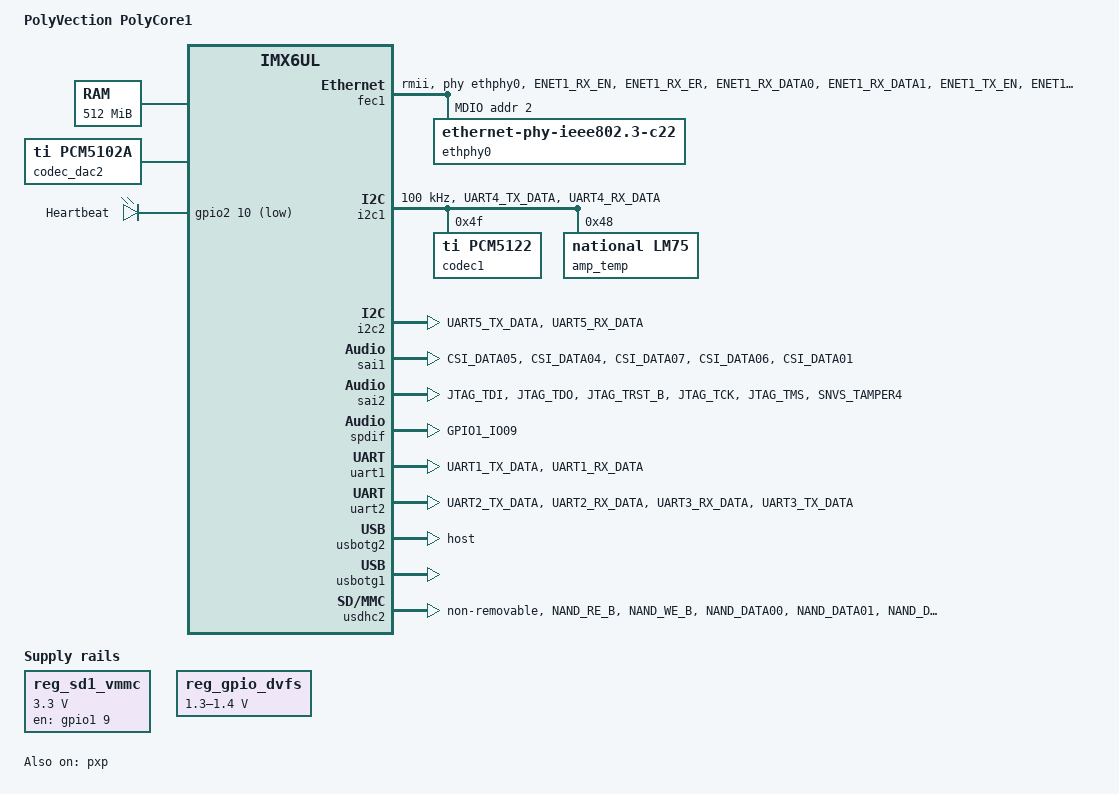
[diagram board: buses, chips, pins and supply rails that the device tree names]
/*
 * Copyright (C) 2015 Freescale Semiconductor, Inc.
 *
 * This program is free software; you can redistribute it and/or modify
 * it under the terms of the GNU General Public License version 2 as
 * published by the Free Software Foundation.
 *
 */

/dts-v1/;

#include <dt-bindings/input/input.h>
#include "imx6ul.dtsi"

/ {
	model = "PolyVection PolyCore1";
	compatible = "polyvection,polycore1", "fsl,imx6ul";

	chosen {
		stdout-path = &uart1;
	};

	memory {
		reg = <0x80000000 0x20000000>;
	};

	reserved-memory {
		#address-cells = <1>;
		#size-cells = <1>;
		ranges;

		linux,cma {
			compatible = "shared-dma-pool";
			reusable;
			size = <0x14000000>;
			linux,cma-default;
		};
	};

	pxp_v4l2 {
		compatible = "fsl,imx6ul-pxp-v4l2", "fsl,imx6sx-pxp-v4l2", "fsl,imx6sl-pxp-v4l2";
		status = "okay";
	};

	regulators {
		compatible = "simple-bus";
		#address-cells = <1>;
		#size-cells = <0>;

		reg_sd1_vmmc: regulator@1 {
			compatible = "regulator-fixed";
			regulator-name = "VSD_3V3";
			regulator-min-microvolt = <3300000>;
			regulator-max-microvolt = <3300000>;
			gpio = <&gpio1 9 GPIO_ACTIVE_HIGH>;
			enable-active-high;
		};

		reg_gpio_dvfs: regulator-gpio {
			compatible = "regulator-gpio";
			pinctrl-names = "default";
			pinctrl-0 = <&pinctrl_dvfs>;
			regulator-min-microvolt = <1300000>;
			regulator-max-microvolt = <1400000>;
			regulator-name = "gpio_dvfs";
			regulator-type = "voltage";
			gpios = <&gpio5 3 GPIO_ACTIVE_HIGH>;
			states = <1300000 0x1 1400000 0x0>;
		};
	};

	sound-spdif {
		compatible = "fsl,imx-audio-spdif";
		model = "imx-spdif";
		spdif-controller = <&spdif>;
		spdif-in;
	};

	/*codec_dac1: dac-codec1 {
		compatible = "ti,pcm5102a";
		status = "okay";
	};*/

	codec_dac2: dac-codec2 {
		compatible = "ti,pcm5102a";
		status = "okay";
	};

	sound1 {
		compatible = "polyvection,imx-audio-pcm512x";
		model = "pcm512x";
		cpu-dai = <&sai1>;
		audio-codec = <&codec1>;
		status = "okay";
	};

	/*sound1 {
		compatible = "polyvection,imx-audio-pcm5102a";
		model = "pcm5102a-audio";
		cpu-dai = <&sai1>;
		audio-codec = <&codec_dac1>;
		status = "okay";
	};*/

	sound2 {
		compatible = "polyvection,imx-audio-pcm5102a";
		model = "pcm5102a-audio";
		cpu-dai = <&sai2>;
		audio-codec = <&codec_dac2>;
		status = "okay";
	};

	/*spi4 {
		compatible = "spi-gpio";
		pinctrl-names = "default";
		pinctrl-0 = <&pinctrl_spi4>;
		pinctrl-assert-gpios = <&gpio5 8 GPIO_ACTIVE_LOW>;
		status = "okay";
		gpio-sck = <&gpio5 11 0>;
		gpio-mosi = <&gpio5 10 0>;
		cs-gpios = <&gpio5 7 0>;
		num-chipselects = <1>;
		#address-cells = <1>;
		#size-cells = <0>;
	};*/

	leds {
		compatible = "gpio-leds";

		user_led: user {
			label = "Heartbeat";
			pinctrl-names = "default";
			pinctrl-0 = <&pinctrl_led_blue>;
			gpios = <&gpio2 10 GPIO_ACTIVE_LOW>;
			linux,default-trigger = "heartbeat";
		};
	};

};

&cpu0 {
	arm-supply = <&reg_arm>;
	soc-supply = <&reg_soc>;
	dc-supply = <&reg_gpio_dvfs>;
};

&clks {
	assigned-clocks = <&clks IMX6UL_CLK_PLL4_AUDIO_DIV>;
	assigned-clock-rates = <722534400>;//, <786432000>;
	
};

&fec1 {
	pinctrl-names = "default";
	pinctrl-0 = <&pinctrl_enet1>;
	phy-mode = "rmii";
	phy-reset-gpios = <&gpio1 5 0>;
	fsl,magic-packet;
	phy-handle = <&ethphy0>;
	status = "okay";
	
	mdio {
		#address-cells = <1>;
		#size-cells = <0>;

		ethphy0: ethernet-phy@2 {
			compatible = "ethernet-phy-ieee802.3-c22";
			reg = <2>;
		};

	};
};

&gpc {
	fsl,cpu_pupscr_sw2iso = <0x1>;
	fsl,cpu_pupscr_sw = <0x0>;
	fsl,cpu_pdnscr_iso2sw = <0x1>;
	fsl,cpu_pdnscr_iso = <0x1>;
	fsl,ldo-bypass = <0>; /* DCDC, ldo-enable */
};

&i2c1 {
	clock-frequency = <100000>;
	pinctrl-names = "default";
	pinctrl-0 = <&pinctrl_i2c1>;
	status = "okay";

	codec1: pcm5122@4c {
		#sound-dai-cells = <0>;
		compatible = "ti,pcm5122";
		reg = <0x4f>;
		//clocks = <&clks IMX6UL_CLK_SAI1>;
		status = "okay";
	};

	amp_temp: lm75@48 {
		compatible = "national,lm75";
		reg = <0x48>;
	};
};

&i2c2 {
	clock_frequency = <100000>;
	pinctrl-names = "default";
	pinctrl-0 = <&pinctrl_i2c2>;
	status = "okay";
};

&pxp {
	status = "okay";
};

&sai1 {
	pinctrl-names = "default";
	pinctrl-0 = <&pinctrl_sai1>;

	assigned-clocks = <&clks IMX6UL_CLK_SAI1_SEL>,
			  <&clks IMX6UL_CLK_SAI1>;
	assigned-clock-parents = <&clks IMX6UL_CLK_PLL4_AUDIO_DIV>;
	assigned-clock-rates = <0>, <11289600>;//, <12288000>;
	//fsl,sai-mclk-direction-output;
	status = "okay";
};

&sai2 {
	pinctrl-names = "default";
	pinctrl-0 = <&pinctrl_sai2>;

	assigned-clocks = <&clks IMX6UL_CLK_SAI2_SEL>,
			  <&clks IMX6UL_CLK_SAI2>;
	assigned-clock-parents = <&clks IMX6UL_CLK_PLL4_AUDIO_DIV>;
	assigned-clock-rates = <0>, <11289600>;//, <12288000>;

	status = "okay";
};

&spdif {
	pinctrl-names = "default";
	pinctrl-0 = <&pinctrl_spdif_in>;
	status = "okay";
};

&uart1 {
	pinctrl-names = "default";
	pinctrl-0 = <&pinctrl_uart1>;
	status = "okay";
};

&uart2 {
	pinctrl-names = "default";
	pinctrl-0 = <&pinctrl_uart2>;
	fsl,uart-has-rtscts;
	/* for DTE mode, add below change */
	/* fsl,dte-mode; */
	/* pinctrl-0 = <&pinctrl_uart2dte>; */
	status = "okay";
};

&usbotg2 {
	dr_mode = "host";
	disable-over-current;
	srp-disable;
	hnp-disable;
	adp-disable;
	status = "okay";
};

&usbotg1 {
	dr_mode = "";
	srp-disable;
	hnp-disable;
	adp-disable;
	status = "okay";
};

&usbphy1 {
	tx-d-cal = <0x5>;
};

&usbphy2 {
	tx-d-cal = <0x5>;
};

&usdhc2 {
	pinctrl-names = "default";
	pinctrl-0 = <&pinctrl_usdhc2>;
	no-1-8-v;
	non-removable;
	keep-power-in-suspend;
	enable-sdio-wakeup;
	status = "okay";
};

&iomuxc {
	pinctrl-names = "default";
	pinctrl-0 = <&pinctrl_hog_1>;
	imx6ul-evk {
		pinctrl_hog_1: hoggrp-1 {
			fsl,pins = <
				MX6UL_PAD_UART1_RTS_B__GPIO1_IO19	0x17059 /* SD1 CD */
				/* MX6UL_PAD_GPIO1_IO05__USDHC1_VSELECT	0x17059  SD1 VSELECT */
				/*MX6UL_PAD_GPIO1_IO09__GPIO1_IO09        0x17059 SD1 RESET */
				MX6UL_PAD_SNVS_TAMPER0__GPIO5_IO00	0x80000000
			>;
		};

		pinctrl_dvfs: dvfsgrp {
			fsl,pins = <
				MX6UL_PAD_SNVS_TAMPER3__GPIO5_IO03	0x79
			>;
		};

		pinctrl_enet1: enet1grp {
			fsl,pins = <
				MX6UL_PAD_ENET1_RX_EN__ENET1_RX_EN	0x1b0b0
				MX6UL_PAD_ENET1_RX_ER__ENET1_RX_ER	0x1b0b0
				MX6UL_PAD_ENET1_RX_DATA0__ENET1_RDATA00	0x1b0b0
				MX6UL_PAD_ENET1_RX_DATA1__ENET1_RDATA01	0x1b0b0
				MX6UL_PAD_ENET1_TX_EN__ENET1_TX_EN	0x1b0b0
				MX6UL_PAD_ENET1_TX_DATA0__ENET1_TDATA00	0x1b0b0
				MX6UL_PAD_ENET1_TX_DATA1__ENET1_TDATA01	0x1b0b0
				MX6UL_PAD_ENET1_TX_CLK__ENET1_REF_CLK1	0x4001b031
				MX6UL_PAD_GPIO1_IO05__GPIO1_IO05	0x130b0
			>;
		};

		pinctrl_i2c1: i2c1grp {
			fsl,pins = <
				MX6UL_PAD_UART4_TX_DATA__I2C1_SCL 0x4001b8b0
				MX6UL_PAD_UART4_RX_DATA__I2C1_SDA 0x4001b8b0
			>;
		};

		pinctrl_i2c2: i2c2grp {
			fsl,pins = <
				MX6UL_PAD_UART5_TX_DATA__I2C2_SCL 0x4001b8b0
				MX6UL_PAD_UART5_RX_DATA__I2C2_SDA 0x4001b8b0
			>;
		};

		pinctrl_sai1: sai1grp {
			fsl,pins = <
				MX6UL_PAD_CSI_DATA05__SAI1_TX_BCLK	0x11088
				MX6UL_PAD_CSI_DATA04__SAI1_TX_SYNC	0x11088
				MX6UL_PAD_CSI_DATA07__SAI1_TX_DATA	0x11088
				MX6UL_PAD_CSI_DATA06__SAI1_RX_DATA	0x11088
				MX6UL_PAD_CSI_DATA01__SAI1_MCLK		0x11088
			>;
		};

		pinctrl_sai2: sai2grp {
			fsl,pins = <
				MX6UL_PAD_JTAG_TDI__SAI2_TX_BCLK	0x17088
				MX6UL_PAD_JTAG_TDO__SAI2_TX_SYNC	0x17088
				MX6UL_PAD_JTAG_TRST_B__SAI2_TX_DATA	0x11088
				MX6UL_PAD_JTAG_TCK__SAI2_RX_DATA	0x11088
				MX6UL_PAD_JTAG_TMS__SAI2_MCLK		0x17088
				MX6UL_PAD_SNVS_TAMPER4__GPIO5_IO04	0x17059
			>;
		};

		pinctrl_spdif_in: spdifgrp-in {
			fsl,pins = <
				MX6UL_PAD_GPIO1_IO09__SPDIF_IN      0x1b0b0
				/*MX6UL_PAD_JTAG_MOD__SPDIF_OUT           0x1b0b0*/
			>;
		};

		pinctrl_led_green: ledgreengrp {
			fsl,pins = <
				MX6UL_PAD_ENET2_RX_DATA1__GPIO2_IO09    0x1b0b0
			>;
		};

		pinctrl_led_red: ledredgrp {
			fsl,pins = <
				MX6UL_PAD_CSI_DATA00__GPIO4_IO21        0x1b0b0
			>;
		};

		pinctrl_led_blue: ledbluegrp {
			fsl,pins = <
				MX6UL_PAD_ENET2_RX_EN__GPIO2_IO10       0x1b0b0
			>;
		};

		/*pinctrl_spi4: spi4grp {
			fsl,pins = <
				MX6UL_PAD_BOOT_MODE0__GPIO5_IO10	0x70a1
				MX6UL_PAD_BOOT_MODE1__GPIO5_IO11	0x70a1
				MX6UL_PAD_SNVS_TAMPER7__GPIO5_IO07	0x70a1
				MX6UL_PAD_SNVS_TAMPER8__GPIO5_IO08	0x80000000
			>;
		};*/

		pinctrl_uart1: uart1grp {
			fsl,pins = <
				MX6UL_PAD_UART1_TX_DATA__UART1_DCE_TX 0x1b0b1
				MX6UL_PAD_UART1_RX_DATA__UART1_DCE_RX 0x1b0b1
			>;
		};

		pinctrl_uart2: uart2grp {
			fsl,pins = <
				MX6UL_PAD_UART2_TX_DATA__UART2_DCE_TX	0x1b0b1
				MX6UL_PAD_UART2_RX_DATA__UART2_DCE_RX	0x1b0b1
				MX6UL_PAD_UART3_RX_DATA__UART2_DCE_RTS	0x1b0b1
				MX6UL_PAD_UART3_TX_DATA__UART2_DCE_CTS	0x1b0b1
			>;
		};

		pinctrl_uart2dte: uart2dtegrp {
			fsl,pins = <
				MX6UL_PAD_UART2_TX_DATA__UART2_DTE_RX	0x1b0b1
				MX6UL_PAD_UART2_RX_DATA__UART2_DTE_TX	0x1b0b1
				MX6UL_PAD_UART3_RX_DATA__UART2_DTE_CTS	0x1b0b1
				MX6UL_PAD_UART3_TX_DATA__UART2_DTE_RTS	0x1b0b1
			>;
		};

		pinctrl_usdhc1: usdhc1grp {
			fsl,pins = <
				MX6UL_PAD_SD1_CMD__USDHC1_CMD     0x17059
				MX6UL_PAD_SD1_CLK__USDHC1_CLK     0x10071
				MX6UL_PAD_SD1_DATA0__USDHC1_DATA0 0x17059
				MX6UL_PAD_SD1_DATA1__USDHC1_DATA1 0x17059
				MX6UL_PAD_SD1_DATA2__USDHC1_DATA2 0x17059
				MX6UL_PAD_SD1_DATA3__USDHC1_DATA3 0x17059
			>;
		};

		pinctrl_usdhc1_100mhz: usdhc1grp100mhz {
			fsl,pins = <
				MX6UL_PAD_SD1_CMD__USDHC1_CMD     0x170b9
				MX6UL_PAD_SD1_CLK__USDHC1_CLK     0x100b9
				MX6UL_PAD_SD1_DATA0__USDHC1_DATA0 0x170b9
				MX6UL_PAD_SD1_DATA1__USDHC1_DATA1 0x170b9
				MX6UL_PAD_SD1_DATA2__USDHC1_DATA2 0x170b9
				MX6UL_PAD_SD1_DATA3__USDHC1_DATA3 0x170b9
			>;
		};

		pinctrl_usdhc1_200mhz: usdhc1grp200mhz {
			fsl,pins = <
				MX6UL_PAD_SD1_CMD__USDHC1_CMD     0x170f9
				MX6UL_PAD_SD1_CLK__USDHC1_CLK     0x100f9
				MX6UL_PAD_SD1_DATA0__USDHC1_DATA0 0x170f9
				MX6UL_PAD_SD1_DATA1__USDHC1_DATA1 0x170f9
				MX6UL_PAD_SD1_DATA2__USDHC1_DATA2 0x170f9
				MX6UL_PAD_SD1_DATA3__USDHC1_DATA3 0x170f9
			>;
		};

		pinctrl_usdhc2: usdhc2grp {
			fsl,pins = <
				MX6UL_PAD_NAND_RE_B__USDHC2_CLK     0x10069
				MX6UL_PAD_NAND_WE_B__USDHC2_CMD     0x17059
				MX6UL_PAD_NAND_DATA00__USDHC2_DATA0 0x17059
				MX6UL_PAD_NAND_DATA01__USDHC2_DATA1 0x17059
				MX6UL_PAD_NAND_DATA02__USDHC2_DATA2 0x17059
				MX6UL_PAD_NAND_DATA03__USDHC2_DATA3 0x17059
			>;
		};
	};
};
